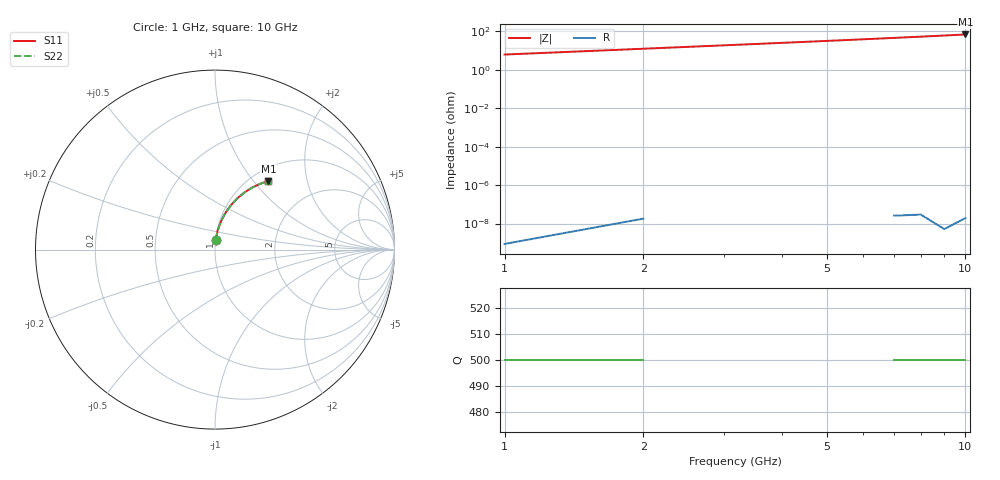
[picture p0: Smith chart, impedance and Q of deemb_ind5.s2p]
! Created Mon Nov  1 17:15:38 2021
# hz S ma R 50
! 2 Port Network Data from SP1.SP block
! freq  magS11  angS11  magS21  angS21  magS12  angS12  magS22  angS22
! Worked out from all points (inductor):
!   10 points, 1 GHz to 10 GHz, reference 50 ohm
!   read as 1/Y11, port 2 shorted: L = 1 nH near 1 GHz
!   highest |Z| = 69.7 ohm at 10 GHz (marker M1)
1e9  0.0549 86.0  0.9985 -4.0  0.9985 -4.0  0.0549 86.0
2e9  0.1093 81.9  0.994 -8.1  0.994 -8.1  0.1093 81.9
3e9  0.1628 77.9  0.9867 -12.1  0.9867 -12.1  0.1628 77.9
4e9  0.215 74.0  0.9766 -16.0  0.9766 -16.0  0.215 74.0
5e9  0.2655 70.1  0.9641 -19.9  0.9641 -19.9  0.2655 70.1
6e9  0.314 66.3  0.9494 -23.7  0.9494 -23.7  0.314 66.3
7e9  0.3602 62.6  0.9329 -27.4  0.9329 -27.4  0.3602 62.6
8e9  0.4041 59.0  0.9147 -31.0  0.9147 -31.0  0.4041 59.0
9e9  0.4455 55.5  0.8953 -34.5  0.8953 -34.5  0.4455 55.5
1e10  0.4844 52.0  0.8749 -38.0  0.8749 -38.0  0.4844 52.0
